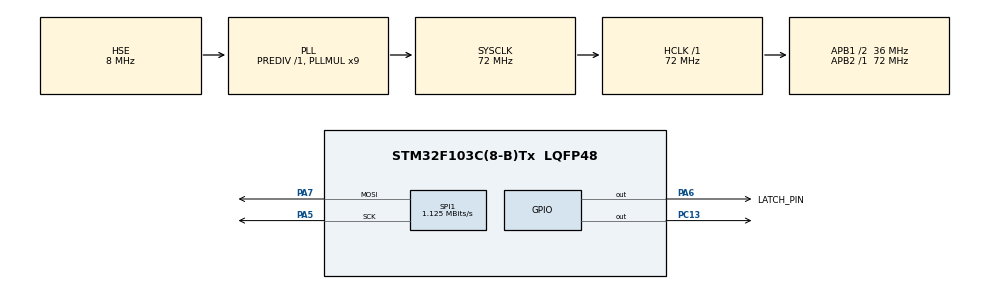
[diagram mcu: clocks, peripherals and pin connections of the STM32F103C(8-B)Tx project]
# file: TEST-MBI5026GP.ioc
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Dma.Request0=SPI1_TX
Dma.SPI1_TX.0.Direction=DMA_MEMORY_TO_PERIPH
Dma.SPI1_TX.0.Instance=DMA1_Channel3
Dma.SPI1_TX.0.MemDataAlignment=DMA_MDATAALIGN_BYTE
Dma.SPI1_TX.0.MemInc=DMA_MINC_ENABLE
Dma.SPI1_TX.0.Mode=DMA_NORMAL
Dma.SPI1_TX.0.PeriphDataAlignment=DMA_PDATAALIGN_BYTE
Dma.SPI1_TX.0.PeriphInc=DMA_PINC_DISABLE
Dma.SPI1_TX.0.Priority=DMA_PRIORITY_LOW
Mcu.Family=STM32F1
Mcu.Name=STM32F103C(8-B)Tx
Mcu.Package=LQFP48
NVIC.DMA1_Channel3_IRQn=true\:0\:0\:false\:false\:true\:false\:true\:true
NVIC.PriorityGroup=NVIC_PRIORITYGROUP_4
PA13.Mode=Serial_Wire
PA13.Signal=SYS_JTMS-SWDIO
PA14.Mode=Serial_Wire
PA14.Signal=SYS_JTCK-SWCLK
PA5.Mode=TX_Only_Simplex_Unidirect_Master
PA5.Signal=SPI1_SCK
PA6.GPIO_Label=LATCH_PIN
PA6.Signal=GPIO_Output
PA7.Mode=TX_Only_Simplex_Unidirect_Master
PA7.Signal=SPI1_MOSI
PC13-TAMPER-RTC.Signal=GPIO_Output
PD0-OSC_IN.Mode=HSE-External-Oscillator
PD0-OSC_IN.Signal=RCC_OSC_IN
PD1-OSC_OUT.Mode=HSE-External-Oscillator
PD1-OSC_OUT.Signal=RCC_OSC_OUT
ProjectManager.HeapSize=0x200
ProjectManager.StackSize=0x400
ProjectManager.TargetToolchain=STM32CubeIDE
RCC.AHBFreq_Value=72000000
RCC.APB1CLKDivider=RCC_HCLK_DIV2
RCC.APB1Freq_Value=36000000
RCC.APB1TimFreq_Value=72000000
RCC.APB2Freq_Value=72000000
RCC.APB2TimFreq_Value=72000000
RCC.HCLKFreq_Value=72000000
RCC.PLLMUL=RCC_PLL_MUL9
RCC.PLLSourceVirtual=RCC_PLLSOURCE_HSE
RCC.SYSCLKFreq_VALUE=72000000
RCC.SYSCLKSource=RCC_SYSCLKSOURCE_PLLCLK
RCC.USBFreq_Value=72000000
SPI1.BaudRatePrescaler=SPI_BAUDRATEPRESCALER_64
SPI1.CalculateBaudRate=1.125 MBits/s
SPI1.Direction=SPI_DIRECTION_2LINES
SPI1.Mode=SPI_MODE_MASTER
SPI1.VirtualType=VM_MASTER
board=custom

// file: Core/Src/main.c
/* USER CODE BEGIN Header */
/**
  ******************************************************************************
  * @file           : main.c
  * @brief          : Main program body
  ******************************************************************************
  * @attention
  *
  * Copyright (c) 2023 STMicroelectronics.
  * All rights reserved.
  *
  * This software is licensed under terms that can be found in the LICENSE file
  * in the root directory of this software component.
  * If no LICENSE file comes with this software, it is provided AS-IS.
  *
  ******************************************************************************
  */
/* USER CODE END Header */
#include "main.h"

SPI_HandleTypeDef hspi1;
DMA_HandleTypeDef hdma_spi1_tx;

/* USER CODE BEGIN PV */
uint8_t data1[2] = {0x00};
int count = 0;
//uint8_t data2[2] = {0x3c,0x3c};
//uint8_t data3[2] = {0xaa,0xaa};
//uint8_t data4[2] = {0x55,0x55};
/* USER CODE END PV */

void SystemClock_Config(void);
static void MX_GPIO_Init(void);
static void MX_DMA_Init(void);
static void MX_SPI1_Init(void);
/* USER CODE BEGIN PFP */
void bit_shift(uint8_t data[]);
/* USER CODE END PFP */

/* USER CODE BEGIN 0 */
void bit_shift(uint8_t data[])
{

//	for (int i = 0; i < 16; i++)
//	{
//		HAL_GPIO_WritePin(CLK_PIN_GPIO_Port, CLK_PIN_Pin, 0);
//		if (data & (0x0001 << i))
//			HAL_GPIO_WritePin(DATA_PIN_GPIO_Port, DATA_PIN_Pin, 1);
//		else HAL_GPIO_WritePin(DATA_PIN_GPIO_Port, DATA_PIN_Pin, 0);
//		HAL_GPIO_WritePin(CLK_PIN_GPIO_Port, CLK_PIN_Pin, 1);
//
//	}
	HAL_SPI_Transmit_DMA(&hspi1, data, 2);
	HAL_GPIO_WritePin(LATCH_PIN_GPIO_Port, LATCH_PIN_Pin, 1);
	HAL_GPIO_WritePin(LATCH_PIN_GPIO_Port, LATCH_PIN_Pin, 0);
}
/* USER CODE END 0 */

int main(void)
{

  /* MCU Configuration--------------------------------------------------------*/

  /* Reset of all peripherals, Initializes the Flash interface and the Systick. */
  HAL_Init();

  /* Configure the system clock */
  SystemClock_Config();

  /* Initialize all configured peripherals */
  MX_GPIO_Init();
  MX_DMA_Init();
  MX_SPI1_Init();

  /* Infinite loop */
  while (1)
  {

    /* USER CODE BEGIN 3 */
	  for (uint8_t i = 0; i < 16; i++)
	  {
		  if (i < 8)
		  {
			  data1[0] = (data1[0] | (0x80 >> i));
			  bit_shift(data1);
		  } else
		  {
			  data1[1] = (data1[1] | (0x80 >> (i-8)));
			  bit_shift(data1);
		  }
		HAL_Delay(1000);
	  }
	  data1[0] = data1[1] = 0x00;

  }
  /* USER CODE END 3 */
}

void SystemClock_Config(void)
{
  RCC_OscInitTypeDef RCC_OscInitStruct = {0};
  RCC_ClkInitTypeDef RCC_ClkInitStruct = {0};

  /** Initializes the RCC Oscillators according to the specified parameters
  * in the RCC_OscInitTypeDef structure.
  */
  RCC_OscInitStruct.OscillatorType = RCC_OSCILLATORTYPE_HSE;
  RCC_OscInitStruct.HSEState = RCC_HSE_ON;
  RCC_OscInitStruct.HSEPredivValue = RCC_HSE_PREDIV_DIV1;
  RCC_OscInitStruct.HSIState = RCC_HSI_ON;
  RCC_OscInitStruct.PLL.PLLState = RCC_PLL_ON;
  RCC_OscInitStruct.PLL.PLLSource = RCC_PLLSOURCE_HSE;
  RCC_OscInitStruct.PLL.PLLMUL = RCC_PLL_MUL9;
  if (HAL_RCC_OscConfig(&RCC_OscInitStruct) != HAL_OK)
  {
    Error_Handler();
  }

  /** Initializes the CPU, AHB and APB buses clocks
  */
  RCC_ClkInitStruct.ClockType = RCC_CLOCKTYPE_HCLK|RCC_CLOCKTYPE_SYSCLK
                              |RCC_CLOCKTYPE_PCLK1|RCC_CLOCKTYPE_PCLK2;
  RCC_ClkInitStruct.SYSCLKSource = RCC_SYSCLKSOURCE_PLLCLK;
  RCC_ClkInitStruct.AHBCLKDivider = RCC_SYSCLK_DIV1;
  RCC_ClkInitStruct.APB1CLKDivider = RCC_HCLK_DIV2;
  RCC_ClkInitStruct.APB2CLKDivider = RCC_HCLK_DIV1;

  if (HAL_RCC_ClockConfig(&RCC_ClkInitStruct, FLASH_LATENCY_2) != HAL_OK)
  {
    Error_Handler();
  }
}

static void MX_SPI1_Init(void)
{

  /* SPI1 parameter configuration*/
  hspi1.Instance = SPI1;
  hspi1.Init.Mode = SPI_MODE_MASTER;
  hspi1.Init.Direction = SPI_DIRECTION_2LINES;
  hspi1.Init.DataSize = SPI_DATASIZE_8BIT;
  hspi1.Init.CLKPolarity = SPI_POLARITY_LOW;
  hspi1.Init.CLKPhase = SPI_PHASE_1EDGE;
  hspi1.Init.NSS = SPI_NSS_SOFT;
  hspi1.Init.BaudRatePrescaler = SPI_BAUDRATEPRESCALER_64;
  hspi1.Init.FirstBit = SPI_FIRSTBIT_MSB;
  hspi1.Init.TIMode = SPI_TIMODE_DISABLE;
  hspi1.Init.CRCCalculation = SPI_CRCCALCULATION_DISABLE;
  hspi1.Init.CRCPolynomial = 10;
  if (HAL_SPI_Init(&hspi1) != HAL_OK)
  {
    Error_Handler();
  }

}

static void MX_DMA_Init(void)
{

  /* DMA controller clock enable */
  __HAL_RCC_DMA1_CLK_ENABLE();

  /* DMA interrupt init */
  /* DMA1_Channel3_IRQn interrupt configuration */
  HAL_NVIC_SetPriority(DMA1_Channel3_IRQn, 0, 0);
  HAL_NVIC_EnableIRQ(DMA1_Channel3_IRQn);

}

static void MX_GPIO_Init(void)
{
  GPIO_InitTypeDef GPIO_InitStruct = {0};

  /* GPIO Ports Clock Enable */
  __HAL_RCC_GPIOC_CLK_ENABLE();
  __HAL_RCC_GPIOD_CLK_ENABLE();
  __HAL_RCC_GPIOA_CLK_ENABLE();

  /*Configure GPIO pin Output Level */
  HAL_GPIO_WritePin(GPIOC, GPIO_PIN_13, GPIO_PIN_RESET);

  /*Configure GPIO pin Output Level */
  HAL_GPIO_WritePin(LATCH_PIN_GPIO_Port, LATCH_PIN_Pin, GPIO_PIN_RESET);

  /*Configure GPIO pin : PC13 */
  GPIO_InitStruct.Pin = GPIO_PIN_13;
  GPIO_InitStruct.Mode = GPIO_MODE_OUTPUT_PP;
  GPIO_InitStruct.Pull = GPIO_NOPULL;
  GPIO_InitStruct.Speed = GPIO_SPEED_FREQ_LOW;
  HAL_GPIO_Init(GPIOC, &GPIO_InitStruct);

  /*Configure GPIO pin : LATCH_PIN_Pin */
  GPIO_InitStruct.Pin = LATCH_PIN_Pin;
  GPIO_InitStruct.Mode = GPIO_MODE_OUTPUT_PP;
  GPIO_InitStruct.Pull = GPIO_NOPULL;
  GPIO_InitStruct.Speed = GPIO_SPEED_FREQ_LOW;
  HAL_GPIO_Init(LATCH_PIN_GPIO_Port, &GPIO_InitStruct);

}

void Error_Handler(void)
{
  __disable_irq();
  while (1)
  {
  }
}
